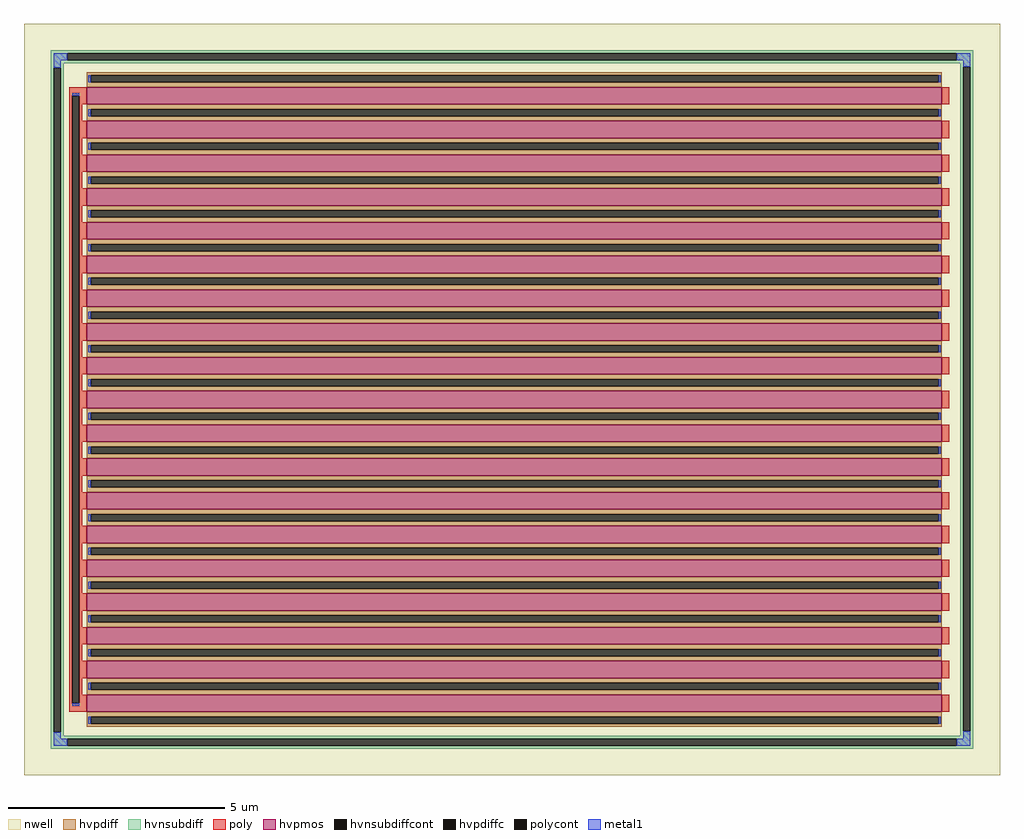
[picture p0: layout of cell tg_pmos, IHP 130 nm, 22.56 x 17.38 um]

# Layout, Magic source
magic
tech ihp-sg13cmos5l
magscale 1 2
<< nwell >>
rect 0 0 4512 3476
<< hvpmos >>
rect 290 3102 4242 3182
rect 290 2946 4242 3026
rect 290 2790 4242 2870
rect 290 2634 4242 2714
rect 290 2478 4242 2558
rect 290 2322 4242 2402
rect 290 2166 4242 2246
rect 290 2010 4242 2090
rect 290 1854 4242 1934
rect 290 1698 4242 1778
rect 290 1542 4242 1622
rect 290 1386 4242 1466
rect 290 1230 4242 1310
rect 290 1074 4242 1154
rect 290 918 4242 998
rect 290 762 4242 842
rect 290 606 4242 686
rect 290 450 4242 530
rect 290 294 4242 374
<< hvpdiff >>
rect 290 3236 4242 3250
rect 290 3204 308 3236
rect 4228 3204 4242 3236
rect 290 3182 4242 3204
rect 290 3080 4242 3102
rect 290 3048 308 3080
rect 4228 3048 4242 3080
rect 290 3026 4242 3048
rect 290 2924 4242 2946
rect 290 2892 308 2924
rect 4228 2892 4242 2924
rect 290 2870 4242 2892
rect 290 2768 4242 2790
rect 290 2736 308 2768
rect 4228 2736 4242 2768
rect 290 2714 4242 2736
rect 290 2612 4242 2634
rect 290 2580 308 2612
rect 4228 2580 4242 2612
rect 290 2558 4242 2580
rect 290 2456 4242 2478
rect 290 2424 308 2456
rect 4228 2424 4242 2456
rect 290 2402 4242 2424
rect 290 2300 4242 2322
rect 290 2268 308 2300
rect 4228 2268 4242 2300
rect 290 2246 4242 2268
rect 290 2144 4242 2166
rect 290 2112 308 2144
rect 4228 2112 4242 2144
rect 290 2090 4242 2112
rect 290 1988 4242 2010
rect 290 1956 308 1988
rect 4228 1956 4242 1988
rect 290 1934 4242 1956
rect 290 1832 4242 1854
rect 290 1800 308 1832
rect 4228 1800 4242 1832
rect 290 1778 4242 1800
rect 290 1676 4242 1698
rect 290 1644 308 1676
rect 4228 1644 4242 1676
rect 290 1622 4242 1644
rect 290 1520 4242 1542
rect 290 1488 308 1520
rect 4228 1488 4242 1520
rect 290 1466 4242 1488
rect 290 1364 4242 1386
rect 290 1332 308 1364
rect 4228 1332 4242 1364
rect 290 1310 4242 1332
rect 290 1208 4242 1230
rect 290 1176 308 1208
rect 4228 1176 4242 1208
rect 290 1154 4242 1176
rect 290 1052 4242 1074
rect 290 1020 308 1052
rect 4228 1020 4242 1052
rect 290 998 4242 1020
rect 290 896 4242 918
rect 290 864 308 896
rect 4228 864 4242 896
rect 290 842 4242 864
rect 290 740 4242 762
rect 290 708 308 740
rect 4228 708 4242 740
rect 290 686 4242 708
rect 290 584 4242 606
rect 290 552 308 584
rect 4228 552 4242 584
rect 290 530 4242 552
rect 290 428 4242 450
rect 290 396 308 428
rect 4228 396 4242 428
rect 290 374 4242 396
rect 290 272 4242 294
rect 290 240 308 272
rect 4228 240 4242 272
rect 290 226 4242 240
<< hvpdiffc >>
rect 308 3204 4228 3236
rect 308 3048 4228 3080
rect 308 2892 4228 2924
rect 308 2736 4228 2768
rect 308 2580 4228 2612
rect 308 2424 4228 2456
rect 308 2268 4228 2300
rect 308 2112 4228 2144
rect 308 1956 4228 1988
rect 308 1800 4228 1832
rect 308 1644 4228 1676
rect 308 1488 4228 1520
rect 308 1332 4228 1364
rect 308 1176 4228 1208
rect 308 1020 4228 1052
rect 308 864 4228 896
rect 308 708 4228 740
rect 308 552 4228 584
rect 308 396 4228 428
rect 308 240 4228 272
<< hvnsubdiff >>
rect 124 3338 4388 3352
rect 124 3306 200 3338
rect 4312 3306 4388 3338
rect 124 3292 4388 3306
rect 124 3271 184 3292
rect 124 200 138 3271
rect 170 200 184 3271
rect 4328 3276 4388 3292
rect 124 184 184 200
rect 4328 205 4342 3276
rect 4374 205 4388 3276
rect 4328 184 4388 205
rect 124 170 4388 184
rect 124 138 200 170
rect 4312 138 4388 170
rect 124 124 4388 138
<< hvnsubdiffcont >>
rect 200 3306 4312 3338
rect 138 200 170 3271
rect 4342 205 4374 3276
rect 200 138 4312 170
<< poly >>
rect 210 3143 290 3182
rect 210 333 224 3143
rect 256 3102 290 3143
rect 4242 3102 4278 3182
rect 256 3026 270 3102
rect 256 2946 290 3026
rect 4242 2946 4278 3026
rect 256 2870 270 2946
rect 256 2790 290 2870
rect 4242 2790 4278 2870
rect 256 2714 270 2790
rect 256 2634 290 2714
rect 4242 2634 4278 2714
rect 256 2558 270 2634
rect 256 2478 290 2558
rect 4242 2478 4278 2558
rect 256 2402 270 2478
rect 256 2322 290 2402
rect 4242 2322 4278 2402
rect 256 2246 270 2322
rect 256 2166 290 2246
rect 4242 2166 4278 2246
rect 256 2090 270 2166
rect 256 2010 290 2090
rect 4242 2010 4278 2090
rect 256 1934 270 2010
rect 256 1854 290 1934
rect 4242 1854 4278 1934
rect 256 1778 270 1854
rect 256 1698 290 1778
rect 4242 1698 4278 1778
rect 256 1622 270 1698
rect 256 1542 290 1622
rect 4242 1542 4278 1622
rect 256 1466 270 1542
rect 256 1386 290 1466
rect 4242 1386 4278 1466
rect 256 1310 270 1386
rect 256 1230 290 1310
rect 4242 1230 4278 1310
rect 256 1154 270 1230
rect 256 1074 290 1154
rect 4242 1074 4278 1154
rect 256 998 270 1074
rect 256 918 290 998
rect 4242 918 4278 998
rect 256 842 270 918
rect 256 762 290 842
rect 4242 762 4278 842
rect 256 686 270 762
rect 256 606 290 686
rect 4242 606 4278 686
rect 256 530 270 606
rect 256 450 290 530
rect 4242 450 4278 530
rect 256 374 270 450
rect 256 333 290 374
rect 210 294 290 333
rect 4242 294 4278 374
<< polycont >>
rect 224 333 256 3143
<< metal1 >>
rect 138 3306 200 3338
rect 4312 3306 4374 3338
rect 138 3271 170 3306
rect 4342 3276 4374 3306
rect 298 3204 308 3236
rect 4228 3204 4238 3236
rect 224 3143 256 3153
rect 298 3048 308 3080
rect 4228 3048 4238 3080
rect 298 2892 308 2924
rect 4228 2892 4238 2924
rect 298 2736 308 2768
rect 4228 2736 4238 2768
rect 298 2580 308 2612
rect 4228 2580 4238 2612
rect 298 2424 308 2456
rect 4228 2424 4238 2456
rect 298 2268 308 2300
rect 4228 2268 4238 2300
rect 298 2112 308 2144
rect 4228 2112 4238 2144
rect 298 1956 308 1988
rect 4228 1956 4238 1988
rect 298 1800 308 1832
rect 4228 1800 4238 1832
rect 298 1644 308 1676
rect 4228 1644 4238 1676
rect 298 1488 308 1520
rect 4228 1488 4238 1520
rect 298 1332 308 1364
rect 4228 1332 4238 1364
rect 298 1176 308 1208
rect 4228 1176 4238 1208
rect 298 1020 308 1052
rect 4228 1020 4238 1052
rect 298 864 308 896
rect 4228 864 4238 896
rect 298 708 308 740
rect 4228 708 4238 740
rect 298 552 308 584
rect 4228 552 4238 584
rect 298 396 308 428
rect 4228 396 4238 428
rect 224 323 256 333
rect 298 240 308 272
rect 4228 240 4238 272
rect 138 170 170 200
rect 4342 170 4374 205
rect 138 138 200 170
rect 4312 138 4374 170
<< properties >>
string FIXED_BBOX 0 0 4512 3476
<< end >>
